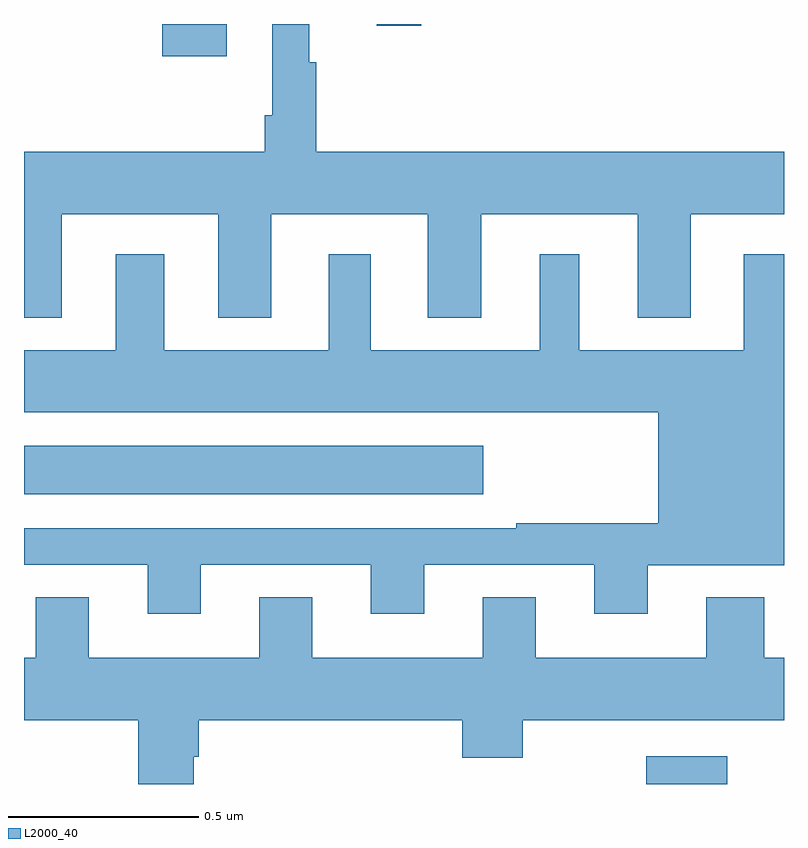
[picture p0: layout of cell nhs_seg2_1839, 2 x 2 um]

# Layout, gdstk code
import gdstk
lib = gdstk.Library(unit=1e-6, precision=1e-09)
def R(c, l, rs):  # rectangles x0, y0, x1, y1
    for r in rs: c.add(gdstk.rectangle(r[:2], r[2:], *l))
def P(c, l, *ps):  # polygons
    for p in ps: c.add(gdstk.Polygon(p, *l))
L2000_40 = (2000, 40)

nhs_seg2_1839 = lib.new_cell('nhs_seg2_1839')
R(nhs_seg2_1839, L2000_40, [(134.637,648.8,134.851,648.873), (133,649.562,134.209,649.69), (133.364,650.715,133.534,650.8), (133.928,650.796,134.045,650.8)])
P(nhs_seg2_1839, L2000_40, [(133.099,650.3),(133.511,650.3),(133.511,650.027),(133.651,650.027),(133.651,650.3),(134.063,650.3),(134.063,650.027),(134.203,650.027),(134.203,650.3),(134.615,650.3),(134.615,650.027),(134.755,650.027),(134.755,650.3),(135,650.3),(135,650.464),(133.769,650.464),(133.769,650.7),(133.751,650.7),(133.751,650.8),(133.653,650.8),(133.653,650.56),(133.633,650.56),(133.633,650.464),(133,650.464),(133,650.027),(133.099,650.027)],
  [(133.465,649.377),(133.913,649.377),(133.913,649.248),(134.053,649.248),(134.053,649.377),(134.501,649.377),(134.501,649.248),(134.641,649.248),(134.641,649.376),(135,649.376),(135,650.194),(134.894,650.194),(134.894,649.942),(134.461,649.942),(134.461,650.194),(134.357,650.194),(134.357,649.942),(133.912,649.942),(133.912,650.194),(133.802,650.194),(133.802,649.942),(133.369,649.942),(133.369,650.194),(133.241,650.194),(133.241,649.942),(133,649.942),(133,649.778),(134.669,649.778),(134.669,649.486),(134.296,649.486),(134.296,649.473),(133,649.473),(133,649.377),(133.325,649.377),(133.325,649.248),(133.465,649.248)],
  [(133.447,648.872),(133.46,648.872),(133.46,648.968),(134.153,648.968),(134.153,648.869),(134.313,648.869),(134.313,648.968),(135,648.968),(135,649.132),(134.948,649.132),(134.948,649.291),(134.795,649.291),(134.795,649.132),(134.347,649.132),(134.347,649.292),(134.207,649.292),(134.207,649.132),(133.759,649.132),(133.759,649.292),(133.619,649.292),(133.619,649.132),(133.171,649.132),(133.171,649.292),(133.031,649.292),(133.031,649.132),(133,649.132),(133,648.968),(133.3,648.968),(133.3,648.8),(133.447,648.8)])

lib.write_gds('nhs_seg2_1839.gds')
